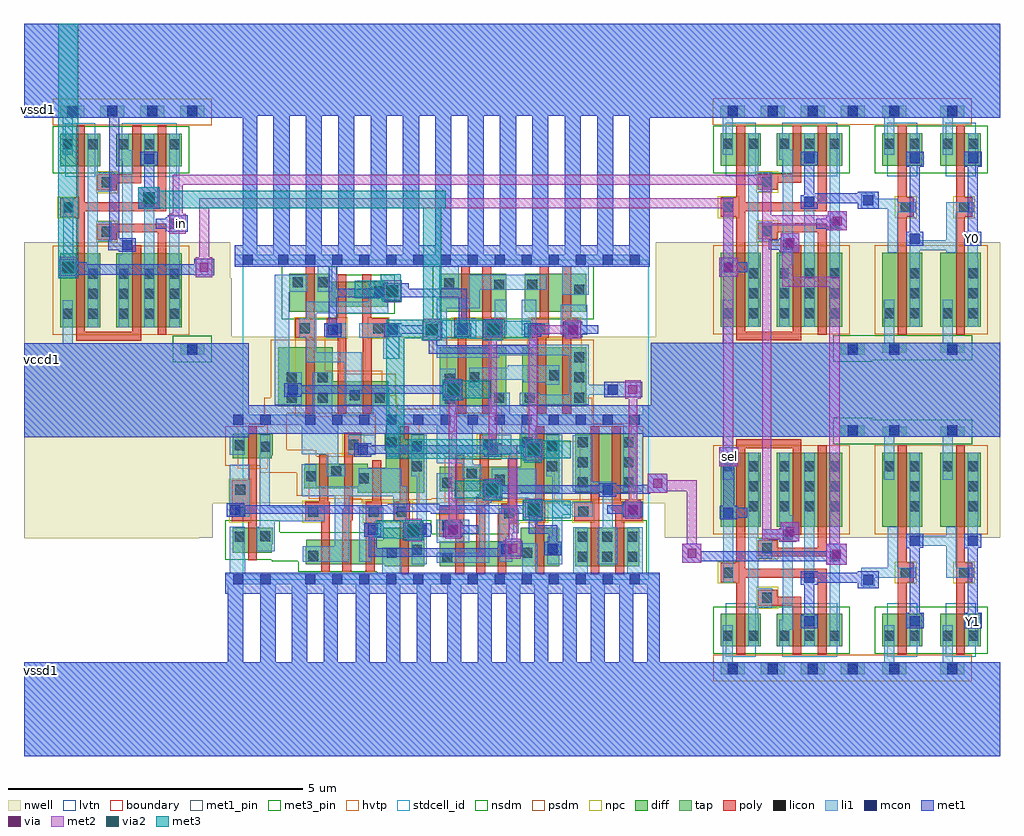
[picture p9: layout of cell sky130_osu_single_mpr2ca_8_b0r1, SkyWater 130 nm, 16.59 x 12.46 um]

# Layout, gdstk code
import gdstk
lib = gdstk.Library(unit=1e-6, precision=1e-09)
def R(c, l, rs):  # rectangles x0, y0, x1, y1
    for r in rs: c.add(gdstk.rectangle(r[:2], r[2:], *l))
def A(c, l, x, y, w, h, nx, ny, dx, dy):  # array of equal rectangles
    R(c, l, [(x+i*dx, y+j*dy, x+i*dx+w, y+j*dy+h) for i in range(nx) for j in range(ny)])
nwell = (64, 20)
diff = (65, 20)
tap = (65, 44)
poly = (66, 20)
licon = (66, 44)
li1 = (67, 20)
mcon = (67, 44)
met1_pin = (68, 16)
met1 = (68, 20)
via = (68, 44)
met2 = (69, 20)
via2 = (69, 44)
met3_pin = (70, 16)
met3 = (70, 20)
hvtp = (78, 44)
stdcell_id = (81, 4)
nsdm = (93, 44)
psdm = (94, 20)
npc = (95, 20)
lvtn = (125, 44)
boundary = (235, 4)

sky130_osu_sc_12t_hs__mu = lib.new_cell('sky130_osu_sc_12T_hs__mux2_1')
R(sky130_osu_sc_12t_hs__mu, nwell, [(-0.05,2.42,2.76,4.51)])
R(sky130_osu_sc_12t_hs__mu, diff, [(0.13,0.57,0.815,1.12), (1.085,0.57,2.2,1.12), (0.13,2.6,0.815,3.86), (1.085,2.6,2.2,3.86)])
A(sky130_osu_sc_12t_hs__mu, tap, 0.13, 0.1, 0.41, 0.2, 4, 1, 0.68, 0)
R(sky130_osu_sc_12t_hs__mu, tap, [(2.17,4.13,2.58,4.33)])
R(sky130_osu_sc_12t_hs__mu, poly, [(0.4,0.44,0.55,1.66), (1.355,0.44,1.505,1.26), (1.785,0.44,1.935,1.74), (0.76,1.26,1.505,1.41), (0.76,1.41,1.095,1.53), (0.13,1.66,0.55,1.74), (0.13,1.74,1.935,1.89), (0.13,1.89,0.55,1.99), (0.4,1.99,0.55,3.94), (0.76,2.1,1.935,2.25), (0.76,2.25,1.095,2.37), (1.785,2.25,1.935,3.99), (1.355,2.47,1.505,3.94), (0.4,3.94,1.505,4.09)])
A(sky130_osu_sc_12t_hs__mu, licon, 0.25, 0.13, 0.17, 0.17, 4, 1, 0.68, 0)
A(sky130_osu_sc_12t_hs__mu, licon, 0.605, 2.865, 0.17, 0.17, 1, 3, 0, 0.34)
A(sky130_osu_sc_12t_hs__mu, licon, 1.125, 2.865, 0.17, 0.17, 1, 3, 0, 0.34)
A(sky130_osu_sc_12t_hs__mu, licon, 1.56, 2.865, 0.17, 0.17, 1, 3, 0, 0.34)
A(sky130_osu_sc_12t_hs__mu, licon, 1.99, 2.865, 0.17, 0.17, 1, 3, 0, 0.34)
R(sky130_osu_sc_12t_hs__mu, licon, [(0.17,0.665,0.34,0.835), (0.605,0.665,0.775,0.835), (1.125,0.665,1.295,0.835), (1.56,0.665,1.73,0.835), (1.99,0.665,2.16,0.835), (0.84,1.31,1.01,1.48), (0.18,1.74,0.35,1.91), (0.84,2.15,1.01,2.32), (0.17,3.545,0.34,3.715), (2.29,4.13,2.46,4.3)])
R(sky130_osu_sc_12t_hs__mu, li1, [(0,0,2.75,0.3), (0.17,0.3,0.34,0.93), (0.6,0.57,0.775,1.06), (1.125,0.57,1.295,0.85), (1.555,0.57,1.73,1.08), (1.985,0.57,2.16,1.12), (1.125,0.85,1.355,1.02), (1.185,1.02,1.355,2.63), (0.6,1.06,0.77,1.23), (1.985,1.12,2.155,2.72), (0.6,1.23,1.01,1.56), (0.6,1.56,0.77,2.07), (1.555,1.65,1.725,2.6), (0.18,1.66,0.35,2.93), (0.6,2.07,1.01,2.4), (0.6,2.4,0.77,2.6), (0.6,2.6,0.775,3.86), (1.555,2.6,1.73,3.86), (1.125,2.63,1.355,2.8), (1.985,2.72,2.16,3.86), (1.125,2.8,1.295,3.86), (0.17,3.4,0.34,4.13), (0,4.13,2.75,4.44)])
A(sky130_osu_sc_12t_hs__mu, mcon, 0.25, 0.1, 0.17, 0.17, 4, 1, 0.68, 0)
R(sky130_osu_sc_12t_hs__mu, mcon, [(1.555,0.91,1.725,1.08), (1.555,1.65,1.725,1.82), (1.985,2.02,2.155,2.19), (1.185,2.38,1.355,2.55), (0.18,2.76,0.35,2.93), (2.29,4.16,2.46,4.33)])
R(sky130_osu_sc_12t_hs__mu, met1, [(0,0,2.75,0.3), (1.495,0.88,1.785,1.11), (1.555,1.11,1.725,1.62), (1.495,1.62,1.785,1.85), (1.925,1.99,2.215,2.02), (1.755,2.02,2.215,2.19), (1.925,2.19,2.215,2.22), (1.125,2.35,1.415,2.38), (0.95,2.38,1.415,2.55), (1.125,2.55,1.415,2.58), (0.12,2.73,0.41,2.76), (0.12,2.76,0.58,2.93), (0.12,2.93,0.41,2.96), (0,4.13,2.75,4.44)])
R(sky130_osu_sc_12t_hs__mu, nsdm, [(0.005,0.445,2.325,1.245), (2.045,4.005,2.705,4.455)])
R(sky130_osu_sc_12t_hs__mu, psdm, [(0.005,-0.025,2.705,0.425), (0.005,2.475,2.325,3.985)])
R(sky130_osu_sc_12t_hs__mu, npc, [(0.74,1.21,1.11,1.58), (0.08,1.64,0.45,2.01), (0.74,2.05,1.11,2.42)])
R(sky130_osu_sc_12t_hs__mu, lvtn, [(0.22,0.39,0.73,1.3), (1.175,0.39,2.115,1.3)])
sky130_osu_sc_12t_hs__mu.add(gdstk.Label('S0', (0.27,2.85), layer=68, texttype=5))
sky130_osu_sc_12t_hs__mu.add(gdstk.Label('Y', (1.645,1.74), layer=68, texttype=5))
sky130_osu_sc_12t_hs__mu.add(gdstk.Label('A0', (1.265,2.47), layer=68, texttype=5))
sky130_osu_sc_12t_hs__mu.add(gdstk.Label('A1', (2.075,2.11), layer=68, texttype=5))
sky130_osu_sc_12t_hs__mu.add(gdstk.Label('vccd1', (2.38,4.2), layer=68, texttype=5))
sky130_osu_sc_12t_hs__mu.add(gdstk.Label('vssd1 ', (0.34,0.24), layer=68, texttype=5))

sky130_osu_sc_12t_hs__in = lib.new_cell('sky130_osu_sc_12T_hs__inv_1')
R(sky130_osu_sc_12t_hs__in, nwell, [(-0.05,2.42,0.995,4.51)])
R(sky130_osu_sc_12t_hs__in, diff, [(0.13,0.57,0.815,1.12), (0.13,2.6,0.815,3.86)])
R(sky130_osu_sc_12t_hs__in, tap, [(0.13,0.1,0.54,0.3), (0.13,4.13,0.55,4.3)])
R(sky130_osu_sc_12t_hs__in, poly, [(0.4,0.44,0.55,1.66), (0.4,1.66,0.67,1.99), (0.4,1.99,0.55,3.99)])
A(sky130_osu_sc_12t_hs__in, licon, 0.605, 2.865, 0.17, 0.17, 1, 3, 0, 0.34)
R(sky130_osu_sc_12t_hs__in, licon, [(0.25,0.13,0.42,0.3), (0.17,0.665,0.34,0.835), (0.605,0.665,0.775,0.835), (0.45,1.74,0.62,1.91), (0.17,3.545,0.34,3.715), (0.25,4.13,0.42,4.3)])
R(sky130_osu_sc_12t_hs__in, li1, [(0,0,0.99,0.3), (0.17,0.3,0.34,0.93), (0.605,0.57,0.775,1.08), (0.23,1.74,0.7,1.91), (0.23,1.91,0.4,2.6), (0.6,2.28,0.77,2.715), (0.6,2.715,0.775,3.86), (0.17,3.4,0.34,4.13), (0,4.13,0.99,4.44)])
R(sky130_osu_sc_12t_hs__in, mcon, [(0.25,0.1,0.42,0.27), (0.605,0.91,0.775,1.08), (0.6,2.28,0.77,2.45), (0.25,4.16,0.42,4.33)])
R(sky130_osu_sc_12t_hs__in, met1, [(0,0,0.99,0.3), (0.54,0.88,0.835,1.14), (0.6,1.14,0.77,2.24), (0.54,2.24,0.77,2.245), (0.54,2.245,0.83,2.48), (0,4.13,0.99,4.44)])
R(sky130_osu_sc_12t_hs__in, nsdm, [(0.005,0.445,0.94,1.245), (0.005,4.005,0.675,4.425)])
R(sky130_osu_sc_12t_hs__in, psdm, [(0.005,-0.025,0.665,0.425), (0.005,2.475,0.94,3.985)])
R(sky130_osu_sc_12t_hs__in, npc, [(0.35,1.64,0.72,2.01)])
R(sky130_osu_sc_12t_hs__in, lvtn, [(0.22,0.39,0.73,1.3)])
sky130_osu_sc_12t_hs__in.add(gdstk.Label('A', (0.32,1.85), layer=67, texttype=5))
sky130_osu_sc_12t_hs__in.add(gdstk.Label('Y', (0.75,1.72), layer=68, texttype=5))
sky130_osu_sc_12t_hs__in.add(gdstk.Label('vccd1', (0.34,4.2), layer=68, texttype=5))
sky130_osu_sc_12t_hs__in.add(gdstk.Label('vssd1', (0.34,0.24), layer=68, texttype=5))

scs130hd_mpr2ca_8 = lib.new_cell('scs130hd_mpr2ca_8')
R(scs130hd_mpr2ca_8, nwell, [(-0.49,1.3,7.09,4.13)])
R(scs130hd_mpr2ca_8, diff, [(2.41,0.23,3.08,0.26), (3.35,0.23,5.38,0.65), (5.65,0.23,6.74,0.88), (1.07,0.26,3.08,0.55), (-0.175,0.46,0.495,0.6), (1.08,0.55,3.08,0.68), (-0.175,0.6,0.505,0.88), (4.72,0.65,5.38,0.88), (2.39,0.68,3.08,0.88), (1.95,1.48,3.08,1.55), (4.725,1.48,5.38,1.5), (5.65,1.48,6.68,2.48), (3.35,1.5,5.38,1.92), (1.04,1.55,3.08,1.9), (1.05,1.9,2.12,1.97), (2.425,1.9,3.08,2.19), (4.725,1.92,5.38,2.19), (-0.175,2.06,0.49,2.11), (-0.175,2.11,0.505,2.48), (2.41,2.19,3.08,2.48), (4.71,2.19,5.38,2.48), (0.6,2.95,2.475,3.37), (3.35,2.95,4.48,3.95), (4.75,2.95,5.84,3.95), (0.6,3.37,1.53,3.95), (0.79,4.55,1.48,4.64), (3.35,4.55,4.48,5.2), (4.79,4.55,5.84,5.2), (0.79,4.64,2.46,5.06), (0.79,5.06,1.48,5.2)])
R(scs130hd_mpr2ca_8, poly, [(2.67,0.1,2.82,0.99), (3.61,0.1,3.76,0.73), (3.97,0.1,4.12,1.28), (4.33,0.1,4.48,0.73), (4.97,0.1,5.12,0.99), (5.91,0.1,6.06,0.99), (6.33,0.1,6.48,0.99), (1.33,0.13,1.48,0.99), (1.69,0.13,1.84,1.01), (2.09,0.13,2.24,0.99), (0.09,0.33,0.24,0.99), (3.34,0.73,3.76,1.25), (4.33,0.73,4.52,0.85), (4.33,0.85,4.54,0.96), (4.33,0.96,4.66,1.13), (-0.19,0.99,0.24,1.69), (1.06,0.99,1.48,1.32), (2.09,0.99,2.36,1.32), (2.57,0.99,2.84,1.32), (4.87,0.99,5.14,1.32), (5.63,0.99,6.06,1.32), (6.33,0.99,6.79,1.17), (1.69,1.01,1.87,1.2), (4.39,1.13,4.66,1.29), (6.27,1.17,6.79,1.32), (1.72,1.2,1.87,2.13), (3.61,1.25,3.76,2.12), (3.97,1.28,4.18,1.41), (4.5,1.29,4.65,2.05), (1.3,1.32,1.45,2.12), (2.2,1.32,2.35,2.03), (2.67,1.32,2.82,2.61), (4.97,1.32,5.12,2.61), (5.91,1.32,6.06,2.61), (6.27,1.32,6.42,2.61), (4.03,1.41,4.18,2.13), (0.09,1.69,0.24,2.61), (1.72,2.13,2.01,2.5), (4.03,2.13,4.3,2.46), (1.07,2.82,1.22,4.11), (1.61,2.82,1.76,4.11), (2.04,2.82,2.19,4.11), (3.65,2.82,3.8,4.11), (4.07,2.82,4.22,4.11), (5.01,2.82,5.16,4.11), (5.43,2.82,5.58,4.11), (0.89,4.11,1.22,4.44), (1.43,4.11,1.76,4.44), (2.035,4.11,2.47,4.115), (3.59,4.11,3.86,4.44), (4.07,4.11,4.46,4.44), (4.91,4.11,5.2,4.44), (5.43,4.11,5.7,4.44), (2.03,4.115,2.47,4.44), (1.07,4.44,1.22,5.33), (1.61,4.44,1.76,5.19), (2.03,4.44,2.18,5.19), (3.71,4.44,3.86,5.33), (4.07,4.44,4.22,5.33), (5.05,4.44,5.2,5.33), (5.43,4.44,5.58,5.33)])
A(scs130hd_mpr2ca_8, licon, 5.69, 0.3, 0.17, 0.17, 3, 2, 0.42, 0.34)
A(scs130hd_mpr2ca_8, licon, 5.69, 1.57, 0.17, 0.17, 1, 3, 0, 0.34)
A(scs130hd_mpr2ca_8, licon, 6.47, 1.57, 0.17, 0.17, 1, 3, 0, 0.34)
A(scs130hd_mpr2ca_8, licon, 5.63, 3.01, 0.17, 0.17, 1, 3, 0, 0.34)
R(scs130hd_mpr2ca_8, licon, [(3.39,0.29,3.56,0.46), (1.11,0.32,1.28,0.49), (2.45,0.37,2.62,0.54), (4.75,0.37,4.92,0.54), (2.87,0.42,3.04,0.59), (5.17,0.42,5.34,0.59), (-0.135,0.64,0.035,0.81), (0.295,0.65,0.465,0.82), (3.39,0.84,3.56,1.01), (4.44,1.04,4.61,1.21), (-0.13,1.07,0.04,1.24), (1.11,1.07,1.28,1.24), (2.14,1.07,2.31,1.24), (2.62,1.07,2.79,1.24), (4.92,1.07,5.09,1.24), (5.7,1.07,5.87,1.24), (6.54,1.07,6.71,1.24), (-0.13,1.44,0.04,1.61), (3.39,1.56,3.56,1.73), (4.28,1.61,4.45,1.78), (1.97,1.64,2.14,1.81), (1.08,1.67,1.25,1.84), (3.81,1.71,3.98,1.88), (1.5,1.76,1.67,1.93), (2.87,1.84,3.04,2.01), (5.17,1.84,5.34,2.01), (0.295,2.17,0.465,2.34), (2.87,2.18,3.04,2.35), (5.17,2.18,5.34,2.35), (-0.135,2.2,0.035,2.37), (1.79,2.21,1.96,2.38), (4.08,2.21,4.25,2.38), (2.45,2.25,2.62,2.42), (4.75,2.25,4.92,2.42), (3.43,2.99,3.6,3.16), (0.75,3.01,0.92,3.18), (1.27,3.01,1.44,3.18), (2.245,3.01,2.415,3.18), (4.27,3.01,4.44,3.18), (4.79,3.01,4.96,3.18), (1.815,3.05,1.985,3.22), (3.43,3.33,3.6,3.5), (0.75,3.35,0.92,3.52), (1.27,3.35,1.44,3.52), (3.85,3.35,4.02,3.52), (5.21,3.39,5.38,3.56), (0.97,4.19,1.14,4.36), (1.51,4.19,1.68,4.36), (2.22,4.19,2.39,4.36), (3.64,4.19,3.81,4.36), (4.22,4.19,4.39,4.36), (4.96,4.19,5.13,4.36), (5.48,4.19,5.65,4.36), (2.23,4.82,2.4,4.99), (5.63,4.84,5.8,5.01), (4.27,4.93,4.44,5.1), (4.83,4.93,5,5.1), (3.42,4.95,3.59,5.12), (0.85,4.97,1.02,5.14), (1.27,4.97,1.44,5.14)])
R(scs130hd_mpr2ca_8, li1, [(-0.3,-0.08,6.9,0.09), (-0.22,0.09,0.04,0.35), (2.37,0.09,2.7,0.54), (4.75,0.09,5,0.62), (5.62,0.09,5.86,0.89), (6.53,0.09,6.8,0.89), (2.87,0.26,3.13,0.73), (5.17,0.26,5.43,0.73), (6.03,0.26,6.36,0.89), (3.3,0.29,4.19,0.46), (1.02,0.3,1.81,0.57), (1.98,0.3,2.18,0.72), (4.36,0.3,4.58,0.79), (-0.22,0.35,0.035,0.9), (4.02,0.46,4.19,1.19), (0.24,0.48,0.54,0.9), (1.56,0.57,1.81,1.42), (3.3,0.63,3.85,1.02), (1.98,0.72,2.39,1.24), (2.96,0.73,3.13,1.76), (5.26,0.73,5.43,1.1), (4.36,0.79,4.69,1.21), (6.12,0.89,6.29,1.49), (0.29,0.9,0.54,0.99), (0.29,0.99,1.39,1.24), (2.56,0.99,2.79,1.42), (4.86,0.99,5.09,1.38), (-0.22,1.07,0.12,1.95), (5.6,1.07,5.95,1.1), (6.46,1.07,6.81,1.32), (5.26,1.1,5.95,1.27), (3.3,1.19,4.19,1.31), (0.29,1.24,0.46,2.06), (5.26,1.27,5.43,1.76), (5.6,1.27,5.95,1.32), (3.3,1.31,4.22,1.32), (3.3,1.32,4.23,1.34), (3.3,1.34,4.25,1.35), (3.3,1.35,4.26,1.36), (3.3,1.36,3.56,1.81), (3.93,1.36,4.28,1.37), (3.93,1.37,4.29,1.38), (3.93,1.38,5.09,1.39), (3.96,1.39,5.09,1.42), (1,1.42,2.79,1.59), (3.99,1.42,5.09,1.45), (4.02,1.45,5.09,1.48), (4.04,1.48,5.09,1.51), (5.61,1.49,6.29,1.66), (6.47,1.49,6.8,2.63), (4.06,1.51,5.09,1.54), (4.13,1.54,5.09,1.55), (4.16,1.55,5.09,1.56), (4.18,1.56,5.09,1.57), (4.2,1.57,5.09,1.59), (1,1.59,1.25,1.96), (1.97,1.59,2.69,1.89), (4.2,1.59,4.99,1.6), (4.22,1.6,4.99,1.63), (4.23,1.63,4.99,1.88), (5.61,1.66,5.94,2.45), (3.73,1.71,4.06,1.95), (1.42,1.76,1.75,1.95), (2.86,1.76,3.13,2.46), (5.16,1.76,5.43,2.46), (1.42,1.95,1.62,2.13), (3.73,1.95,3.92,1.98), (3.3,1.98,3.91,2.63), (0.29,2.06,0.465,2.12), (2.43,2.09,2.65,2.63), (4.73,2.09,4.99,2.63), (-0.225,2.12,0.035,2.48), (0.295,2.12,0.465,2.46), (1.79,2.12,2.26,2.46), (4.08,2.12,4.56,2.46), (1,2.13,1.62,2.63), (-0.225,2.48,0.04,2.63), (-0.3,2.63,6.9,2.8), (1.19,2.8,1.52,3.52), (2.205,2.8,2.485,3.26), (3.35,2.8,3.62,3.58), (4.17,2.8,4.54,3.18), (0.54,2.97,1,3.52), (1.72,2.97,2.025,3.69), (4.71,2.97,5.88,3.14), (4.71,3.14,5.04,3.18), (5.55,3.14,6.37,3.31), (3.85,3.27,4.02,3.4), (5.15,3.31,5.38,3.35), (5.55,3.31,5.88,3.81), (4.77,3.35,5.38,3.4), (3.85,3.4,5.38,3.6), (0.54,3.52,0.79,4.89), (4.5,3.6,5.38,3.64), (1.08,3.69,2.025,3.86), (2.39,3.75,2.66,4.11), (3.3,3.77,4.36,3.81), (3.3,3.81,5.88,3.94), (1.08,3.86,1.25,4.11), (3.3,3.94,3.47,4.61), (4.14,3.94,5.88,3.99), (0.96,4.11,1.25,4.44), (1.42,4.11,1.76,4.36), (1.98,4.11,2.66,4.36), (3.64,4.11,3.97,4.44), (4.14,4.16,4.49,4.36), (4.74,4.16,5.21,4.36), (5.4,4.16,5.85,4.67), (4.28,4.36,4.49,4.76), (4.74,4.36,4.99,4.76), (1.08,4.44,1.25,4.53), (1.08,4.53,2.47,4.72), (3.3,4.61,4.03,4.78), (2.14,4.72,2.47,5.05), (3.85,4.78,4.03,4.93), (5.43,4.84,5.88,5.35), (0.54,4.89,1.1,5.18), (1.27,4.89,1.52,5.35), (3.85,4.93,5.16,5.18), (3.34,4.95,3.67,5.35), (2.14,5.05,2.4,5.08), (-0.14,5.35,6.9,5.52)])
A(scs130hd_mpr2ca_8, mcon, 1.06, -0.08, 0.17, 0.17, 13, 2, 0.46, 2.71)
A(scs130hd_mpr2ca_8, mcon, 4.16, 4.16, 0.17, 0.17, 3, 1, 0.68, 0)
A(scs130hd_mpr2ca_8, mcon, 0.6, 5.35, 0.17, 0.17, 14, 1, 0.46, 0)
R(scs130hd_mpr2ca_8, mcon, [(-0.16,-0.08,0.01,0.09), (0.3,-0.08,0.47,0.09), (4.39,0.43,4.56,0.6), (5.18,0.44,5.35,0.61), (2.12,0.76,2.29,0.93), (2.96,0.76,3.13,0.93), (3.48,0.76,3.65,0.93), (-0.21,1.1,-0.04,1.27), (6.54,1.1,6.71,1.27), (6.12,1.44,6.29,1.61), (1.95,2.12,2.12,2.29), (4.16,2.12,4.33,2.29), (-0.16,2.63,0.01,2.8), (0.3,2.63,0.47,2.8), (0.76,3.14,0.93,3.31), (6.2,3.14,6.37,3.31), (1.44,4.16,1.61,4.33), (2.46,4.16,2.63,4.33), (3.65,4.16,3.82,4.33), (0,5.35,0.17,5.52)])
R(scs130hd_mpr2ca_8, met1, [(-0.3,-0.24,6.9,0.12), (2.14,0.39,4.39,0.4), (2.14,0.4,4.75,0.53), (5.12,0.41,5.41,0.64), (2.14,0.53,2.28,0.73), (4.33,0.53,4.75,0.64), (4.43,0.64,4.75,0.66), (5.2,0.64,5.34,0.78), (4.46,0.66,4.72,0.69), (2.73,0.71,3.05,0.73), (3.41,0.72,3.73,0.78), (2.06,0.73,2.35,0.96), (2.73,0.73,3.19,0.78), (2.73,0.78,3.21,0.92), (3.41,0.78,4,0.92), (4.86,0.78,5.34,0.92), (2.73,0.92,3.19,0.96), (3.41,0.92,3.73,0.98), (4.86,0.92,5,1.06), (2.73,0.96,3.05,0.97), (4.77,1.06,5.09,1.12), (6.47,1.06,6.79,1.12), (-0.27,1.07,0.02,1.12), (-0.27,1.12,2.605,1.15), (3.195,1.12,5.09,1.15), (6.19,1.12,6.79,1.26), (-0.27,1.15,5.09,1.26), (-0.27,1.26,0.02,1.3), (2.465,1.26,3.335,1.29), (4.77,1.26,5.09,1.32), (6.47,1.26,6.79,1.32), (4.09,1.4,4.41,1.46), (6.06,1.41,6.35,1.46), (4.09,1.46,6.35,1.6), (4.09,1.6,4.41,1.66), (6.06,1.6,6.35,1.64), (4.77,2.08,5.09,2.14), (1.89,2.09,2.18,2.14), (4.1,2.09,4.39,2.14), (1.89,2.14,5.09,2.28), (1.89,2.28,2.18,2.32), (4.1,2.28,4.39,2.32), (4.77,2.28,5.09,2.34), (-0.3,2.48,6.9,2.96), (1.61,2.96,1.76,2.965), (3.41,3.1,3.73,3.16), (6.14,3.1,6.79,3.36), (0.7,3.11,0.99,3.16), (0.7,3.16,3.73,3.3), (0.7,3.3,0.99,3.34), (3.41,3.3,3.73,3.36), (3.16,3.84,5,3.98), (3.16,3.98,3.3,4.12), (4.86,3.98,5,4.13), (3.07,4.12,3.39,4.18), (4.09,4.12,4.41,4.38), (5.45,4.12,5.77,4.18), (1.38,4.13,1.67,4.36), (2.4,4.13,2.69,4.18), (3.59,4.13,3.88,4.36), (4.78,4.13,5.07,4.36), (2.4,4.18,3.39,4.32), (5.45,4.18,6.04,4.32), (2.4,4.32,2.69,4.36), (3.07,4.32,3.39,4.38), (5.45,4.32,5.77,4.38), (1.46,4.36,1.6,4.8), (3.67,4.36,3.81,4.8), (2.42,4.74,2.68,4.77), (2.4,4.77,2.68,4.8), (1.46,4.8,3.81,4.94), (2.39,4.94,2.82,5.04), (-0.14,5.32,6.9,5.68)])
R(scs130hd_mpr2ca_8, via, [(4.515,0.455,4.665,0.605), (2.815,0.765,2.965,0.915), (3.495,0.775,3.645,0.925), (4.855,1.115,5.005,1.265), (6.555,1.115,6.705,1.265), (4.175,1.455,4.325,1.605), (4.855,2.135,5.005,2.285), (3.495,3.155,3.645,3.305), (6.555,3.155,6.705,3.305), (3.155,4.175,3.305,4.325), (4.175,4.175,4.325,4.325), (5.535,4.175,5.685,4.325), (2.475,4.825,2.625,4.975)])
R(scs130hd_mpr2ca_8, met2, [(4.46,0.35,4.72,0.69), (2.76,0.65,3.04,1.03), (3.44,0.69,3.7,1.01), (4.52,0.69,4.66,2.14), (4.8,1,5.08,1.375), (3.5,1.01,3.64,3.04), (6.5,1.03,6.76,1.35), (4.1,1.34,4.38,1.715), (6.56,1.35,6.7,3.07), (4.8,2.02,5.08,2.395), (4.18,2.14,4.66,2.28), (4.18,2.28,4.32,4.06), (4.86,2.395,5,4.18), (3.44,3.04,3.72,3.415), (6.5,3.07,6.76,3.39), (3.07,4.06,3.35,4.09), (4.12,4.06,4.4,4.435), (3.07,4.09,3.36,4.41), (5.48,4.09,5.74,4.18), (4.86,4.18,5.74,4.32), (5.48,4.32,5.74,4.41), (3.07,4.41,3.35,4.435), (2.4,4.71,2.68,5.09)])
R(scs130hd_mpr2ca_8, via2, [(2.8,0.74,3,0.94), (4.84,1.09,5.04,1.29), (4.14,1.43,4.34,1.63), (4.84,2.11,5.04,2.31), (3.48,3.13,3.68,3.33), (3.11,4.15,3.31,4.35), (4.16,4.15,4.36,4.35), (2.44,4.8,2.64,5)])
R(scs130hd_mpr2ca_8, met3_pin, [(2.73,0.68,3.06,1.01), (4.77,1.02,5.1,1.35), (4.07,1.36,4.4,1.69), (4.77,2.04,5.1,2.37), (3.41,3.06,3.74,3.39), (3.05,4.08,3.38,4.41), (4.09,4.08,4.42,4.41), (2.37,4.76,2.7,5.09)])
R(scs130hd_mpr2ca_8, met3, [(2.72,0.67,3.065,0.69), (2.62,0.69,3.065,0.7), (2.26,0.7,3.065,1), (2.72,1,3.065,1.01), (4.76,1.01,5.1,1.02), (4.76,1.02,5.105,1.04), (4.76,1.04,5.57,1.34), (4.76,1.34,5.105,1.35), (4.07,1.35,4.41,1.38), (4.77,1.35,5.105,1.355), (3.6,1.38,4.41,1.68), (4.07,1.68,4.41,1.7), (4.78,1.99,5.08,2.03), (4.76,2.03,5.105,2.06), (4.76,2.06,5.57,2.36), (4.76,2.36,5.105,2.37), (4.77,2.37,5.105,2.38), (3.4,3.05,3.745,3.08), (3.4,3.08,4.21,3.38), (3.4,3.38,3.745,3.395), (3.04,4.07,3.38,4.1), (4.08,4.07,4.42,4.08), (4.08,4.08,4.425,4.1), (2.58,4.1,3.38,4.4), (4.08,4.1,4.89,4.4), (3.04,4.4,3.38,4.415), (4.08,4.4,4.425,4.415), (2.37,4.72,2.705,4.75), (2.36,4.75,2.705,4.78), (1.9,4.78,2.705,5.06), (1.9,5.06,2.7,5.08), (2.34,5.08,2.7,5.09), (2.34,5.09,2.68,5.19)])
R(scs130hd_mpr2ca_8, hvtp, [(2.02,1.3,3,1.37), (4.79,1.3,5.3,1.32), (5.73,1.3,6.6,2.34), (3.43,1.32,5.3,2.1), (1.12,1.37,3,2.15), (-0.09,1.88,0.42,2.66), (4.79,2.1,5.3,2.34), (2.24,2.15,3,2.66), (4.79,2.34,6.6,2.66), (2.24,2.66,2.62,2.77), (4.83,2.66,5.935,3.09), (0.89,2.77,2.62,3.13), (3.47,2.77,4.4,4.13), (4.83,3.09,5.76,4.13), (0.89,3.13,2.37,3.55), (0.89,3.55,1.4,4.13)])
R(scs130hd_mpr2ca_8, stdcell_id, [(0,0,6.9,5.44)])
R(scs130hd_mpr2ca_8, nsdm, [(2.285,0.105,6.865,0.135), (0.945,0.135,6.865,0.315), (0.495,0.315,6.865,0.335), (-0.3,0.335,6.865,0.775), (-0.3,0.775,3.205,0.805), (4.595,0.775,6.865,1.005), (-0.3,0.805,0.63,1.005), (2.265,0.805,3.205,1.005), (0.665,4.425,1.605,4.515), (3.225,4.425,5.965,5.325), (0.665,4.515,2.585,5.185), (0.665,5.185,1.605,5.325)])
R(scs130hd_mpr2ca_8, psdm, [(1.825,1.355,3.205,1.375), (4.6,1.355,6.805,1.375), (1.825,1.375,6.805,1.425), (0.915,1.425,6.805,1.815), (0.295,1.815,6.805,1.935), (-0.3,1.935,6.805,2.045), (-0.3,2.045,3.56,2.095), (4.405,2.045,6.805,2.605), (-0.3,2.095,1.245,2.195), (1.925,2.095,3.56,2.27), (-0.3,2.195,1.195,2.205), (-0.3,2.205,0.745,2.605), (2.25,2.27,3.56,2.525), (2.25,2.525,3.6,2.825), (0.36,2.605,0.745,2.825), (4.405,2.605,5.965,2.825), (0.36,2.825,5.965,2.905), (0.36,2.905,2.635,2.98), (3.225,2.905,5.965,4.075), (0.36,2.98,2.6,3.095), (0.475,3.095,2.6,3.495), (0.475,3.495,1.655,4.075)])
R(scs130hd_mpr2ca_8, npc, [(3.29,0.74,3.66,1.11), (4.34,0.94,4.71,0.97), (-0.23,0.97,0.14,1.71), (1.01,0.97,1.38,1.34), (2.04,0.97,2.89,1.34), (4.34,0.97,5.19,1.31), (5.6,0.97,5.97,1.34), (6.44,0.97,6.81,1.34), (4.82,1.31,5.19,1.34), (1.69,2.11,2.06,2.48), (3.98,2.11,4.35,2.48), (0.87,4.09,1.78,4.46), (2.12,4.09,2.49,4.46), (3.54,4.09,4.49,4.46), (4.86,4.09,5.75,4.46)])
R(scs130hd_mpr2ca_8, boundary, [(0,0,6.9,5.44)])
scs130hd_mpr2ca_8.add(gdstk.Label('VPB', (0.38,2.71), layer=64, texttype=5))
scs130hd_mpr2ca_8.add(gdstk.Label('VNB', (0.38,-0.01), layer=64, texttype=59))
scs130hd_mpr2ca_8.add(gdstk.Label('VNB', (0.69,5.43), layer=64, texttype=59))
scs130hd_mpr2ca_8.add(gdstk.Label('vgnd', (0.69,0.01), layer=68, texttype=5))
scs130hd_mpr2ca_8.add(gdstk.Label('vgnd', (0.91,5.43), layer=68, texttype=5))
scs130hd_mpr2ca_8.add(gdstk.Label('vpwr', (0.58,2.72), layer=68, texttype=5))
scs130hd_mpr2ca_8.add(gdstk.Label('A1', (4.255,4.245), layer=70, texttype=5))
scs130hd_mpr2ca_8.add(gdstk.Label('B1', (4.935,2.205), layer=70, texttype=5))
scs130hd_mpr2ca_8.add(gdstk.Label('R3', (4.935,1.185), layer=70, texttype=5))
scs130hd_mpr2ca_8.add(gdstk.Label('R2', (2.895,0.845), layer=70, texttype=5))
scs130hd_mpr2ca_8.add(gdstk.Label('R1', (4.235,1.525), layer=70, texttype=5))
scs130hd_mpr2ca_8.add(gdstk.Label('R0', (3.575,3.225), layer=70, texttype=5))
scs130hd_mpr2ca_8.add(gdstk.Label('B0', (2.535,4.925), layer=70, texttype=5))
scs130hd_mpr2ca_8.add(gdstk.Label('A0', (3.215,4.245), layer=70, texttype=5))

sky130_osu_single_mpr2ca = lib.new_cell('sky130_osu_single_mpr2ca_8_b0r1')
R(sky130_osu_single_mpr2ca, nwell, [(0,3.71,2.975,3.715), (0,3.715,3.205,4.305), (10.895,3.72,11.71,4.305), (16.365,3.72,16.59,5.43), (15.62,3.86,15.77,4.035), (0,4.305,3.535,4.325), (10.6,4.305,11.71,4.505), (0,4.325,3.53,5.425), (10.605,4.505,11.71,4.605), (10.505,4.605,11.71,4.62), (10.605,4.62,11.71,4.715), (10.6,4.715,11.71,5.145), (8.485,5.145,11.71,5.29), (10.6,5.29,11.71,5.43), (0,5.425,3.82,7.025), (10.52,5.43,16.59,5.965), (10.65,5.965,16.59,6.88), (10.65,6.88,14.57,6.9), (16.365,6.88,16.59,8.74), (10.65,6.9,11.76,7.03), (0,7.025,3.58,7.03), (0,7.03,3.53,8.13), (10.735,7.03,11.71,8.225), (0,8.13,3.51,8.74), (11.82,8.15,12.145,8.475), (10.735,8.225,11.685,8.74)])
R(sky130_osu_single_mpr2ca, diff, [(16.045,2.21,16.22,2.38)])
R(sky130_osu_single_mpr2ca, tap, [(11.835,10.86,11.895,11.03), (12.525,10.86,12.9,11.03)])
A(sky130_osu_single_mpr2ca, li1, 5.635, 1.6, 0.24, 1.325, 5, 1, 0.52, 0)
A(sky130_osu_single_mpr2ca, li1, 8.195, 1.6, 0.24, 1.35, 5, 1, 0.48, 0)
A(sky130_osu_single_mpr2ca, li1, 6.635, 2.925, 0.28, 0.025, 3, 1, 0.52, 0)
A(sky130_osu_single_mpr2ca, li1, 4.24, 8.5, 0.275, 2.385, 11, 1, 0.55, 0)
R(sky130_osu_single_mpr2ca, li1, [(0.005,0,16.59,1.6), (3.465,1.6,3.725,2.925), (4.015,1.6,4.275,2.93), (4.555,1.6,4.815,2.925), (5.095,1.6,5.335,2.925), (10.595,1.6,10.81,2.95), (16.05,2.21,16.22,2.38), (14.235,2.89,14.465,3.04), (3.465,2.925,3.975,2.93), (4.535,2.925,4.815,2.945), (5.07,2.925,5.355,2.935), (5.615,2.925,5.875,2.935), (6.12,2.925,6.395,2.95), (3.465,2.93,4.275,2.945), (5.07,2.935,5.875,2.95), (3.465,2.945,4.815,2.95), (3.465,2.95,3.785,3.095), (10.615,2.95,10.81,3.075), (14.235,3.04,14.855,3.21), (10.49,3.075,10.81,3.09), (10.615,3.09,10.81,3.095), (15.22,3.58,15.845,3.75), (16.05,4.985,16.22,5.155), (0.005,5.425,3.82,7.025), (10.52,5.43,16.59,5.965), (10.65,5.965,16.59,6.88), (10.65,6.88,14.57,6.9), (16.41,6.88,16.59,7.03), (10.65,6.9,11.76,7.03), (16.05,7.305,16.22,7.475), (3.715,8.355,3.785,8.36), (10.615,8.355,10.635,8.36), (3.715,8.36,10.635,8.5), (15.225,8.44,15.23,8.6), (3.715,8.5,3.965,10.855), (10.29,8.5,10.635,10.855), (15.21,8.6,15.76,8.77), (16.045,8.71,16.215,8.88), (14.235,9.305,14.855,9.475), (14.235,9.475,14.465,9.57), (0.005,10.855,3.965,10.885), (10.29,10.855,16.59,10.885), (0.005,10.885,16.59,12.455)])
R(sky130_osu_single_mpr2ca, mcon, [(16.05,2.21,16.22,2.38), (14.265,2.92,14.435,3.09), (16.045,8.71,16.215,8.88), (14.265,9.37,14.435,9.54)])
R(sky130_osu_single_mpr2ca, met1_pin, [(16.05,2.21,16.22,2.38), (16.045,8.71,16.215,8.88)])
A(sky130_osu_single_mpr2ca, met1, 5.635, 1.6, 0.24, 1.325, 5, 1, 0.52, 0)
A(sky130_osu_single_mpr2ca, met1, 8.195, 1.6, 0.24, 1.35, 5, 1, 0.48, 0)
A(sky130_osu_single_mpr2ca, met1, 6.635, 2.925, 0.28, 0.025, 3, 1, 0.52, 0)
A(sky130_osu_single_mpr2ca, met1, 4.24, 8.5, 0.275, 2.385, 11, 1, 0.55, 0)
R(sky130_osu_single_mpr2ca, met1, [(0.005,0,16.59,1.6), (3.465,1.6,3.725,2.925), (4.015,1.6,4.275,2.93), (4.555,1.6,4.815,2.925), (5.095,1.6,5.335,2.925), (10.595,1.6,10.81,2.95), (16.05,2.21,16.22,2.38), (14.175,2.86,14.525,2.95), (3.465,2.925,3.975,2.93), (4.535,2.925,4.815,2.945), (5.07,2.925,5.355,2.935), (5.615,2.925,5.875,2.935), (6.12,2.925,6.395,2.95), (3.465,2.93,4.275,2.945), (5.07,2.935,5.875,2.95), (3.465,2.945,4.815,2.95), (3.465,2.95,3.785,3.125), (10.615,2.95,10.81,3.125), (13.265,2.95,14.525,3.115), (13.265,3.115,13.435,3.12), (13.495,3.115,14.525,3.12), (14.175,3.12,14.525,3.15), (13.635,3.26,13.985,3.61), (11.19,3.29,11.515,3.32), (11.19,3.32,13.61,3.49), (11.19,3.49,11.515,3.615), (12.86,3.66,13.18,3.69), (12.545,3.69,13.18,3.86), (12.86,3.86,13.18,3.98), (11.89,4.23,12.07,4.93), (9.665,4.465,10.645,4.48), (9.665,4.48,10.93,4.605), (10.505,4.605,10.93,4.62), (10.605,4.62,10.93,4.805), (11.815,4.93,12.14,5.255), (0.005,5.425,3.82,7.025), (10.52,5.43,16.59,5.965), (10.65,5.965,16.59,6.88), (10.65,6.88,14.57,6.9), (16.41,6.88,16.59,7.03), (10.65,6.9,11.76,7.03), (5.18,7.335,5.32,8.36), (11.82,8.15,12.145,8.475), (0.58,8.17,0.92,8.19), (2.89,8.175,3.23,8.19), (0.58,8.19,3.23,8.365), (3.715,8.325,3.785,8.36), (10.57,8.325,10.635,8.36), (3.715,8.36,10.635,8.5), (0.58,8.365,0.925,8.4), (2.89,8.365,3.23,8.455), (0.58,8.4,0.92,8.45), (3.715,8.5,3.965,10.855), (10.29,8.5,10.635,10.855), (12.86,8.565,13.18,8.89), (1.445,8.6,1.615,10.855), (16.045,8.71,16.215,8.88), (2.44,8.915,2.78,9.195), (13.66,8.94,13.985,9.265), (1.94,9.305,2.31,9.675), (14.175,9.31,14.525,9.405), (13.265,9.34,13.495,9.405), (13.265,9.405,14.525,9.51), (13.495,9.51,14.525,9.54), (13.435,9.54,14.525,9.575), (14.175,9.575,14.525,9.6), (0.005,10.855,3.965,10.885), (10.29,10.855,16.59,10.885), (0.005,10.885,16.59,12.455)])
R(sky130_osu_single_mpr2ca, via, [(13.735,3.36,13.885,3.51), (11.28,3.375,11.43,3.525), (12.945,3.745,13.095,3.895), (10.695,4.565,10.845,4.715), (11.905,5.015,12.055,5.165), (0.675,8.235,0.825,8.385), (11.91,8.235,12.06,8.385), (2.985,8.24,3.135,8.39), (12.945,8.655,13.095,8.805), (2.535,8.98,2.685,9.13), (13.75,9.025,13.9,9.175), (2.05,9.415,2.2,9.565)])
R(sky130_osu_single_mpr2ca, met2, [(13.635,3.26,13.985,3.61), (11.19,3.29,11.515,3.615), (13.69,3.61,13.865,7.98), (11.265,3.615,11.435,4.51), (12.86,3.66,13.18,3.69), (12.545,3.69,13.18,3.86), (12.545,3.86,12.705,9.03), (12.86,3.86,13.18,3.98), (10.605,4.48,10.93,4.51), (10.605,4.51,11.435,4.695), (10.605,4.695,10.93,4.805), (11.815,4.93,12.14,5.255), (11.885,5.255,12.06,8.15), (12.89,7.98,13.865,8.155), (0.61,8.125,0.89,8.495), (2.92,8.145,3.2,8.485), (11.82,8.15,12.145,8.475), (12.89,8.155,13.065,8.33), (12.89,8.33,13.06,8.565), (11.885,8.475,12.06,9.315), (2.975,8.485,3.145,9.315), (12.86,8.565,13.18,8.89), (2.47,8.885,2.75,9.225), (13.66,8.94,13.985,9.03), (12.545,9.03,13.985,9.2), (12.545,9.2,12.705,9.72), (13.66,9.2,13.985,9.265), (2.525,9.225,2.695,9.72), (1.94,9.305,2.31,9.675), (2.975,9.315,12.06,9.485), (2.525,9.72,12.705,9.89)])
R(sky130_osu_single_mpr2ca, via2, [(0.65,8.21,0.85,8.41), (2.025,9.39,2.225,9.59)])
R(sky130_osu_single_mpr2ca, met3, [(8.495,4.025,8.815,4.05), (8.515,4.05,8.815,4.36), (8.515,5.055,8.815,5.06), (6.16,5.06,8.815,5.39), (6.16,5.39,6.46,7.11), (7.125,6.08,7.455,6.38), (7.125,6.38,7.16,6.4), (7.595,7.095,8.105,7.11), (6.16,7.11,8.105,7.395), (6.16,7.395,8.04,7.41), (6.16,7.41,7.1,7.425), (6.79,7.425,7.09,9.315), (0.58,8.125,0.92,12.455), (1.94,9.305,2.31,9.315), (1.94,9.315,7.17,9.615), (1.94,9.615,2.31,9.675)])
R(sky130_osu_single_mpr2ca, nsdm, [(15.395,1.745,15.45,2.545), (15.92,2.085,16.345,2.505), (14.415,5.305,14.46,5.725), (15.13,5.305,15.45,5.725), (14.415,6.735,14.46,7.155), (15.13,6.735,15.45,7.155), (15.395,9.915,15.45,10.715)])
R(sky130_osu_single_mpr2ca, psdm, [(14.415,1.275,14.46,1.725), (15.12,1.275,15.45,1.725), (15.395,3.775,15.45,5.285), (15.395,7.175,15.45,8.685), (11.71,10.735,12.02,11.155), (12.4,10.735,13.025,11.155), (14.415,10.735,14.46,11.185), (15.12,10.735,15.45,11.185)])
sky130_osu_single_mpr2ca.add(gdstk.Reference(sky130_osu_sc_12t_hs__mu, (11.71,11.16), x_reflection=True))
sky130_osu_single_mpr2ca.add(gdstk.Reference(sky130_osu_sc_12t_hs__mu, (0.485,11.155), x_reflection=True))
sky130_osu_single_mpr2ca.add(gdstk.Reference(sky130_osu_sc_12t_hs__mu, (11.71,1.3)))
sky130_osu_single_mpr2ca.add(gdstk.Reference(sky130_osu_sc_12t_hs__in, (14.455,11.16), x_reflection=True))
sky130_osu_single_mpr2ca.add(gdstk.Reference(sky130_osu_sc_12t_hs__in, (15.445,11.16), x_reflection=True))
sky130_osu_single_mpr2ca.add(gdstk.Reference(sky130_osu_sc_12t_hs__in, (15.445,1.3)))
sky130_osu_single_mpr2ca.add(gdstk.Reference(sky130_osu_sc_12t_hs__in, (14.455,1.3)))
sky130_osu_single_mpr2ca.add(gdstk.Reference(scs130hd_mpr2ca_8, (3.72,3.005)))
sky130_osu_single_mpr2ca.add(gdstk.Label('vssd1', (0.245,10.995), layer=68, texttype=5))
sky130_osu_single_mpr2ca.add(gdstk.Label('vssd1', (0.3,1.455), layer=68, texttype=5))
sky130_osu_single_mpr2ca.add(gdstk.Label('vccd1', (0.315,6.745), layer=68, texttype=5))
sky130_osu_single_mpr2ca.add(gdstk.Label('Y0', (16.13,8.795), layer=68, texttype=5))
sky130_osu_single_mpr2ca.add(gdstk.Label('Y1', (16.135,2.295), layer=68, texttype=5))
sky130_osu_single_mpr2ca.add(gdstk.Label('sel', (11.985,5.095), layer=69, texttype=5))
sky130_osu_single_mpr2ca.add(gdstk.Label('in', (2.68,9.05), layer=69, texttype=5))

lib.write_gds('sky130_osu_single_mpr2ca_8_b0r1.gds')
